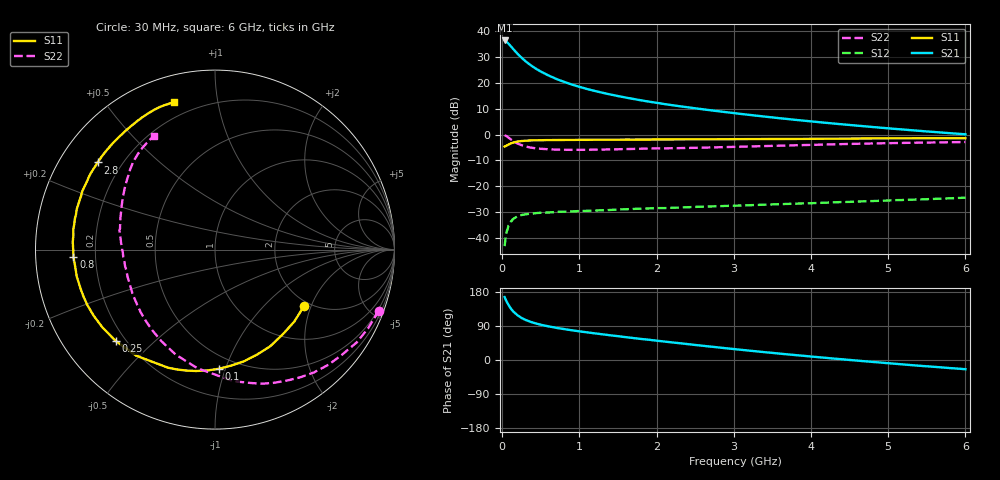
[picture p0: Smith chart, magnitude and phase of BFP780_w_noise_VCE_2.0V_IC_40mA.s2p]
! Infineon Technologies  Discrete & RF Semiconductors
! BFP780
! VCE =  2.0 V,  IC =  40 mA
! Common Emitter S-Parameters:  Jul 2015
# GHz  S  MA  R  50
!  f  S11  S21  S12  S22
! GHz  MAG  ANG  MAG  ANG  MAG  ANG  MAG  ANG
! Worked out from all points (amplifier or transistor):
!   75 points, 30 MHz to 6 GHz, reference 50 ohm
!   highest |S21| = 36.5 dB at 30 MHz (marker M1)
!   |S21| within 3 dB of that: start of sweep to 132.4 MHz
!   unconditionally stable (mu >= 1): 2.098 GHz to end of sweep
!   at 150 MHz: K = 0.11, MSG = 32.7 dB, |S12| = -32.5 dB
!   at 2.3 GHz: K = 1.06, MAG = 18.1 dB, |S12| = -28.2 dB
!   at 6 GHz: K = 1.42, MAG = 8.4 dB, |S12| = -24.4 dB
!   lowest NFmin = 1.24 dB at 450 MHz
!   S11 on the Smith chart (normalised r, x): 30 MHz: 1.84, -1.78; 100 MHz: 0.40, -0.95; 250 MHz: 0.16, -0.38; 800 MHz: 0.12, -0.03; 2.8 GHz: 0.11, +0.33; 6 GHz: 0.13, +0.75
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0.03  0.5876 -32.6  66.85 166.0  0.0069 77.4  0.9739 -20.4
0.05  0.6043 -51.3  63.89 156.9  0.0116 76.4  0.9439 -33.2
0.06  0.6204 -60.3  62.12 153.0  0.0137 63.3  0.9184 -39.7
0.08  0.6428 -75.4  58.03 145.5  0.0172 58.9  0.879 -51.1
0.1  0.6643 -88.1  53.74 139.1  0.0194 52.7  0.8328 -61.2
0.12  0.6846 -98.9  49.69 133.4  0.021 49.4  0.7921 -70.6
0.15  0.7081 -111.6  44.16 126.5  0.0237 43.7  0.7373 -82.4
0.2  0.7366 -126.7  36.57 117.6  0.0263 34.1  0.6689 -98.3
0.25  0.7518 -137.5  30.92 111.0  0.0277 29.4  0.6244 -110.6
0.3  0.7624 -145.4  26.53 105.9  0.0285 26.6  0.5908 -120.5
0.35  0.7699 -151.5  23.18 101.9  0.0293 24.3  0.5682 -128.3
0.45  0.7779 -160.1  18.41 95.6  0.0303 20.3  0.5412 -140.0
0.6  0.7847 -169.0  13.98 88.7  0.031 18.1  0.5207 -152.1
0.8  0.7897 -177.0  10.54 81.6  0.0322 16.6  0.5104 -162.6
1.1  0.793 174.3  7.654 72.9  0.0334 16.2  0.5091 -173.1
1.5  0.7989 165.7  5.586 62.8  0.0354 16.3  0.5202 177.6
2.1  0.8077 154.8  3.918 48.7  0.0377 16.2  0.542 167.4
2.8  0.8146 143.4  2.842 33.2  0.041 15.7  0.5691 156.3
3.1  0.8179 138.8  2.512 26.8  0.0424 15.5  0.5848 151.8
4.1  0.8311 124.8  1.748 7.3  0.0475 14.0  0.6384 138.9
5.1  0.8494 113.6  1.289 -10.1  0.0538 11.5  0.6873 127.9
6  0.8522 105.6  1.016 -24.3  0.0601 8.0  0.7195 118.1
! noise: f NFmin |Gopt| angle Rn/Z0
0.45  1.24  0.39  -178  0.07
0.9  1.28  0.4  -174  0.08
1.5  1.35  0.43  -169  0.07
1.8  1.52  0.45  -159  0.08
2.4  1.67  0.47  -152  0.11
3  1.94  0.49  -149  0.15
3.5  2.45  0.56  -132  0.24
